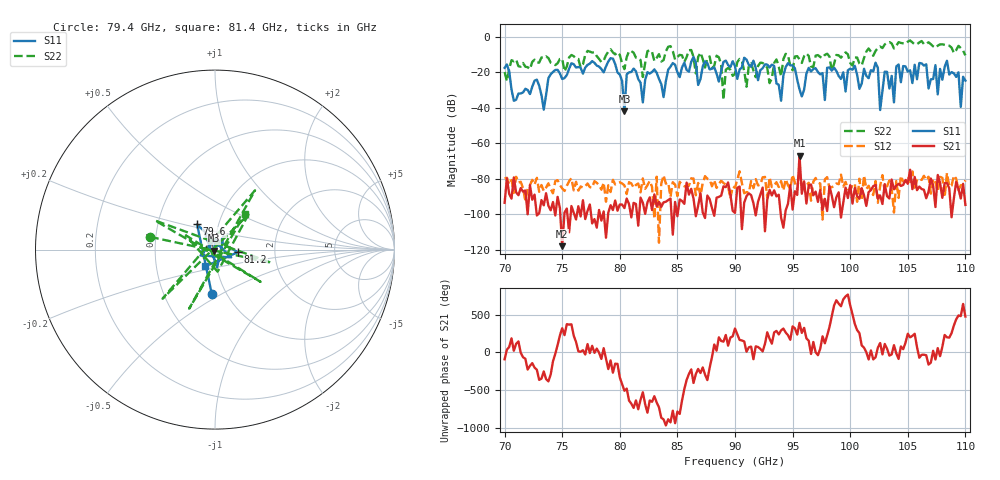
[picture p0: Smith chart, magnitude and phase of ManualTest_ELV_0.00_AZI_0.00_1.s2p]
! 11/25/2026 12:59:06 PM
! C:\ANRITSUVNA\TEMP\TEMP.S2P
! CHANNEL.1
! TR.MEASUREMENT
! RAW.DATA
# HZ S RI R 50.0
! FREQ.HZ  S11RE  S11IM  S21RE  S21IM  S12RE  S12IM  S22RE  S22IM
!; PortSelection: Port_12
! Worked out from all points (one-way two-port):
!   201 points, 70 GHz to 110 GHz, reference 50 ohm
!   highest |S21| = -66.84 dB at 95.6 GHz (marker M1); lowest = -117.9 dB at 75 GHz (marker M2)
!   lowest |S11| = -41.9 dB at 80.4 GHz (marker M3), VSWR 1.02, Z = 49.5 - j0.584 ohm
!   |S11| at or under -10 dB: start of sweep to end of sweep
!   |S22| runs from -35.4 to -2.0 dB; largest |S21 - S12| = 0.00031
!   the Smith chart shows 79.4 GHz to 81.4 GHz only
!   S11 on the Smith chart (normalised r, x): 79.4 GHz: 0.86, -0.45; 79.6 GHz: 0.79, +0.23; 81.2 GHz: 1.29, -0.04; 81.4 GHz: 0.88, -0.17
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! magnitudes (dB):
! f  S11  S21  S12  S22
! 70 GHz  -17.4  -93.4  -79.7  -19.8
! 73.4 GHz  -40.9  -94.9  -86.8  -11.8
! 75 GHz  -23.7  -117.9  -85.3  -12.2
! 76.8 GHz  -20.7  -92.0  -84.9  -15.4
! 79.4 GHz  -12.2  -97.5  -80.5  -8.7
! 79.6 GHz  -15.3  -92.1  -83.1  -9.8
! 80.4 GHz  -41.9  -96.4  -83.5  -18.1
! 80.6 GHz  -21.1  -91.0  -88.5  -11.4
! 81.2 GHz  -17.8  -93.5  -85.0  -8.9
! 81.4 GHz  -19.3  -94.1  -83.3  -11.6
! 82 GHz  -36.9  -93.4  -79.7  -22.6
! 83.4 GHz  -23.6  -92.9  -115.9  -9.7
! 88.6 GHz  -25.2  -90.1  -82.8  -11.5
! 89 GHz  -14.0  -84.1  -82.3  -35.4
! 90 GHz  -16.4  -99.1  -85.0  -20.8
! 95.6 GHz  -29.5  -66.8  -76.3  -12.6
! 96.8 GHz  -18.0  -89.2  -81.5  -16.9
! 97.8 GHz  -35.5  -91.2  -80.2  -10.1
! 98 GHz  -17.3  -98.1  -79.0  -9.5
! 103.4 GHz  -29.0  -91.0  -80.8  -2.9
! 109.6 GHz  -39.4  -91.0  -83.5  -6.2
! 110 GHz  -24.6  -94.6  -80.8  -10.4
